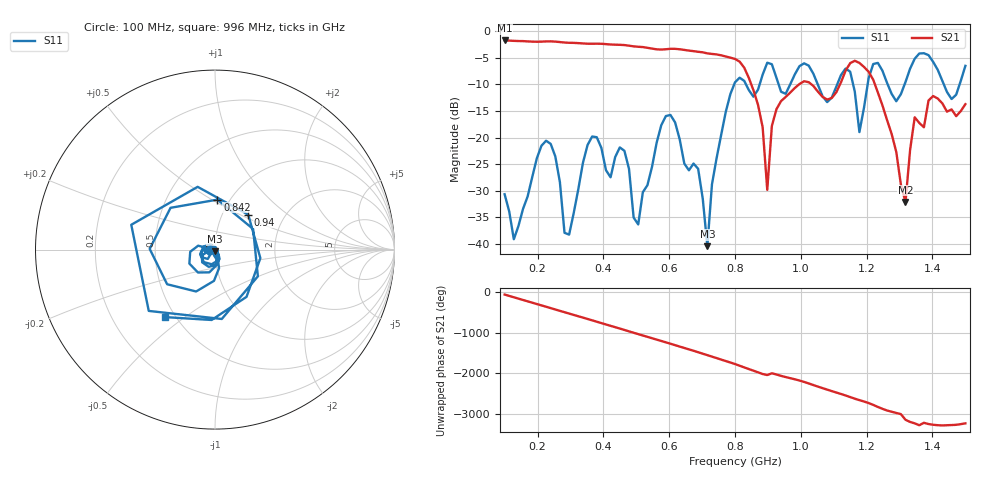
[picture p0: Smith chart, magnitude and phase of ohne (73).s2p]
! NanoVNA-App
! Date: 2025-09-25 14:21:22
! Start: 100MHz Stop: 1,5GHz Points: 101
! S-Parameter data: F S11 S21 S12 S22
# Hz S RI R 50
!  Frequency  S11_Real  S11_Imag  S21_Real  S21_Imag  S12_Real  S12_Imag  S22_Real  S22_Imag
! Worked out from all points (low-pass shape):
!   101 points, 100 MHz to 1.5 GHz, reference 50 ohm
!   highest |S21| = -1.79 dB at 100 MHz (marker M1); lowest = -32.1 dB at 1.318 GHz (marker M2)
!   |S21| within 3 dB of the highest: start of sweep to 771.5 MHz
!   lowest |S11| = -40.4 dB at 716 MHz (marker M3), VSWR 1.02, Z = 49.8 - j0.922 ohm
!   |S11| at or under -10 dB: start of sweep to 797.8 MHz; 833.1 MHz to 875.1 MHz (41.97 MHz wide, 4.91 % of centre); 1.051 GHz to 1.111 GHz (59.6 MHz wide, 5.51 % of centre) (the widest 3 of 7)
!   S12 and S22 are empty: the file has one direction only
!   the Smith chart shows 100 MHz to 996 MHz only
!   S11 on the Smith chart (normalised r, x): 100 MHz: 0.94, -0.01; 842 MHz: 0.88, +0.53; 940 MHz: 1.32, +0.56; 996 MHz: 0.44, -0.42
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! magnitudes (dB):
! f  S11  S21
! 100 MHz  -30.6  -1.8
! 128 MHz  -39.1  -1.9
! 226 MHz  -20.6  -2.0
! 296 MHz  -38.2  -2.2
! 338 MHz  -24.7  -2.4
! 464 MHz  -22.5  -2.7
! 506 MHz  -36.3  -3.0
! 576 MHz  -17.7  -3.5
! 688 MHz  -25.9  -3.9
! 716 MHz  -40.4  -4.2
! 800 MHz  -9.6  -5.3
! 842 MHz  -11.1  -8.8
! 898 MHz  -6.0  -29.8
! 940 MHz  -11.4  -13.2
! 996 MHz  -6.6  -10.0
! 1.038 GHz  -8.0  -10.3
! 1.178 GHz  -19.0  -6.0
! 1.22 GHz  -6.2  -9.2
! 1.276 GHz  -11.8  -19.3
! 1.318 GHz  -9.6  -32.1
! 1.346 GHz  -5.2  -16.2
! 1.5 GHz  -6.6  -13.7
